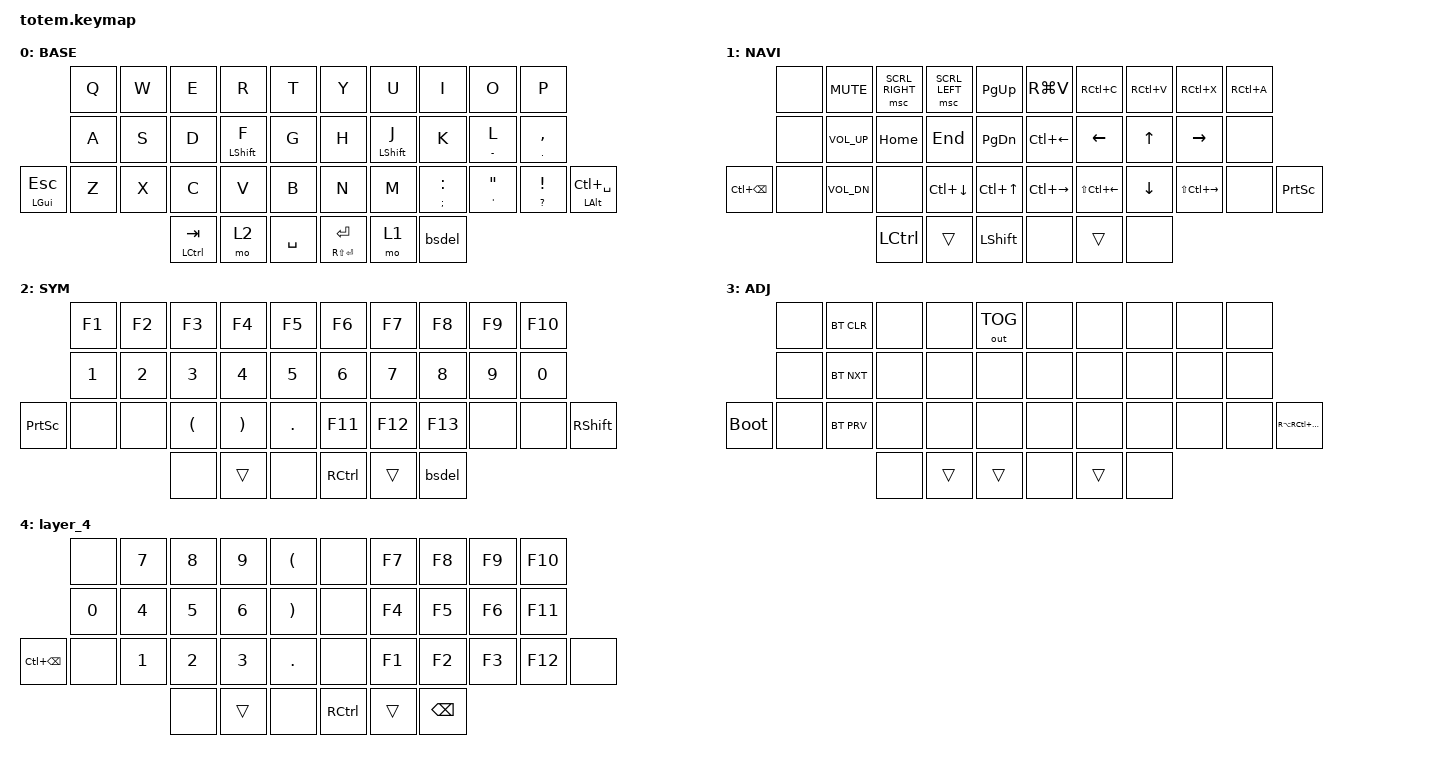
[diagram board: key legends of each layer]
//
//                                                        ▀▀▀▀▀     ▀▀▀▀▀          ▀▀█▀▀
//                                                        ▄▀▀▀▄  ▄  ▄▀▀▀▄  ▄  ▄▀▀▀▄  █  ▄▀▀▀▄
//                                                        █   █  █  █   █  █  █   █  █  █   █
//                                                         ▀▀▀   █   ▀▀▀   █   ▀▀▀   ▀   ▀▀▀
//                                                               █      ▄▄▄█▄▄▄    █   █  
//                                                               ▀      █  █  █     █▄█
//                                                             ▀▀▀▀▀    █  █  █      ▀
//                                                                      ▀  ▀  ▀
//
// ▄▄▄▄▄▄▄▄▄▄▄▄▄▄▄▄▄▄▄▄▄▄▄▄▄▄▄▄▄▄▄▄▄▄▄▄▄▄▄▄▄▄▄▄▄▄▄▄▄▄▄▄▄▄▄▄▄▄▄▄▄▄▄▄▄▄▄▄▄▄▄▄▄▄▄▄▄▄▄▄▄▄▄▄▄▄▄▄▄▄▄▄▄▄▄▄▄▄▄▄▄▄▄▄▄▄▄▄▄▄▄▄▄▄▄▄▄▄▄▄▄▄▄▄▄▄▄▄▄▄▄▄▄▄▄▄▄▄▄▄▄▄▄▄▄▄▄▄▄

#include <behaviors.dtsi>
#include <dt-bindings/zmk/bt.h>
#include <dt-bindings/zmk/keys.h>
#include <dt-bindings/zmk/outputs.h>
#include <dt-bindings/zmk/pointing.h>

#define BASE 0
#define NAV  1
#define SYM  2
#define ADJ  3
#define TVP1 4
#define TVP2 5

/ {
    combos {
        compatible = "zmk,combos";

        at {
            bindings = <&kp AT>;
            key-positions = <10 0>;
        };

        hash {
            bindings = <&kp HASH>;
            key-positions = <11 1>;
        };

        doller {
            bindings = <&kp DLLR>;
            key-positions = <12 2>;
        };

        prcnt {
            bindings = <&kp PRCNT>;
            key-positions = <13 3>;
        };

        caret {
            bindings = <&kp CARET>;
            key-positions = <14 4>;
        };

        amps {
            bindings = <&kp AMPS>;
            key-positions = <15 5>;
        };

        under {
            bindings = <&kp UNDER>;
            key-positions = <16 6>;
        };

        bslh {
            bindings = <&kp BSLH>;
            key-positions = <17 7>;
        };

        pipe {
            bindings = <&kp PIPE>;
            key-positions = <18 8>;
        };

        tilde {
            bindings = <&kp TILDE>;
            key-positions = <19 9>;
        };

        grave {
            bindings = <&kp GRAVE>;
            key-positions = <30 19>;
        };

        lpar {
            bindings = <&kp LPAR>;
            key-positions = <13 14>;
        };

        rpar {
            bindings = <&kp RPAR>;
            key-positions = <16 15>;
        };

        lbkt {
            bindings = <&kp LBKT>;
            key-positions = <3 4>;
        };

        rbkt {
            bindings = <&kp RBKT>;
            key-positions = <6 5>;
        };

        lbrc {
            bindings = <&kp LBRC>;
            key-positions = <24 25>;
        };

        rbrc {
            bindings = <&kp RBRC>;
            key-positions = <27 26>;
        };

        lt {
            bindings = <&kp LT>;
            key-positions = <13 12>;
        };

        gt {
            bindings = <&kp GT>;
            key-positions = <16 17>;
        };

        fslh {
            bindings = <&kp FSLH>;
            key-positions = <27 16>;
        };

        star {
            bindings = <&kp STAR>;
            key-positions = <15 26>;
        };

        minus {
            bindings = <&kp MINUS>;
            key-positions = <24 13>;
        };

        plus {
            bindings = <&kp PLUS>;
            key-positions = <14 25>;
        };

        equal {
            bindings = <&kp EQUAL>;
            key-positions = <17 28>;
        };

        Rayer3 {
            bindings = <&mo 3>;
            key-positions = <33 36>;
        };
    };

    macros {
        gif: gif {
            label = "giphy";
            compatible = "zmk,behavior-macro";
            #binding-cells = <0>;
            bindings =
                <&macro_press>,
                <&kp LSHFT>,
                <&macro_tap>,
                <&kp N2>,
                <&macro_release>,
                <&kp LSHFT>,
                <&macro_tap>,
                <&kp G &kp I &kp F>;
        };
    };

    behaviors {
        bsdel: bsdel {
            compatible = "zmk,behavior-mod-morph";
            label = "BSDEL";
            bindings = <&kp BACKSPACE>, <&kp DELETE>;

            #binding-cells = <0>;
            mods = <(MOD_RSFT|MOD_LSFT)>;
        };

        sifthold_behavior: sifthold_behavior {
            compatible = "zmk,behavior-hold-tap";
            label = "SIFTHOLD_BEHAVIOR";
            bindings = <&kp>, <&kp>;

            #binding-cells = <2>;
            tapping-term-ms = <200>;
            quick-tap-ms = <200>;
            require-prior-idle-ms = <150>;
            hold-trigger-key-positions = <16 13 18>;
            flavor = "tap-preferred";
        };
    };

    keymap {
        compatible = "zmk,keymap";

        // ▄▄▄▄▄▄▄▄▄▄▄▄▄▄▄▄▄▄▄▄▄▄▄▄▄▄▄▄▄▄▄▄▄▄▄▄▄▄▄▄▄▄▄▄▄▄▄▄▄▄▄▄▄▄▄▄▄▄▄▄▄▄▄▄▄▄▄▄▄▄▄▄▄▄▄▄▄▄▄▄▄▄▄▄▄▄▄▄▄▄▄▄▄▄▄▄▄▄▄▄▄▄▄▄▄▄▄▄▄▄▄▄▄▄▄▄▄▄▄▄▄▄▄▄▄▄▄▄▄▄▄▄▄▄▄▄▄▄▄▄▄▄▄▄▄▄▄▄▄

        base_layer {
            // ┏━━━━━━━━━━━━━━━━━━━━━━━━━━━━━━━━━━━━━━━┓

            label = "BASE";

            // ┗━━━━━━━━━━━━━━━━━━━━━━━━━━━━━━━━━━━━━━━┛
            //             ┏━━━━━━━━━━━┳━━━━━━━━━━━┳━━━━━━━━━━━┳━━━━━━━━━━━┳━━━━━━━━━━━┓   ┏━━━━━━━━━━━┳━━━━━━━━━━━┳━━━━━━━━━━━┳━━━━━━━━━━━┳━━━━━━━━━━━┓
            //             ┃     Q     ┃     W     ┃     F     ┃     P     ┃     G     ┃   ┃     J     ┃     L     ┃     U     ┃     Y     ┃     ;     ┃
            //             ┣━━━━━━━━━━━╋━━━━━━━━━━━╋━━━━━━━━━━━╋━━━━━━━━━━━╋━━━━━━━━━━━┫   ┣━━━━━━━━━━━╋━━━━━━━━━━━╋━━━━━━━━━━━╋━━━━━━━━━━━╋━━━━━━━━━━━┫
            //             ┃     A     ┃     R     ┃     S     ┃     T     ┃     D     ┃   ┃     H     ┃     N     ┃     E     ┃     I     ┃     O     ┃
            // ┏━━━━━━━━━━━╋━━━━━━━━━━━╋━━━━━━━━━━━╋━━━━━━━━━━━╋━━━━━━━━━━━╋━━━━━━━━━━━┫   ┣━━━━━━━━━━━╋━━━━━━━━━━━╋━━━━━━━━━━━╋━━━━━━━━━━━╋━━━━━━━━━━━╋━━━━━━━━━━━┓
            // ┃     Q     ┃     Z     ┃     X     ┃     C     ┃     V     ┃     B     ┃   ┃     K     ┃     M     ┃     ,     ┃     .     ┃     /     ┃     \     ┃
            // ┗━━━━━━━━━━━┻━━━━━━━━━━━┻━━━━━━━━━━━╋━━━━━━━━━━━╋━━━━━━━━━━━╋━━━━━━━━━━━┫   ┣━━━━━━━━━━━╋━━━━━━━━━━━╋━━━━━━━━━━━╋━━━━━━━━━━━┻━━━━━━━━━━━┻━━━━━━━━━━━┛
            //                                     ┃    DEL    ┃    TAB    ┃    SPC    ┃   ┃   ENTER   ┃           ┃   BSPC    ┃
            //                                     ┗━━━━━━━━━━━┻━━━━━━━━━━━┻━━━━━━━━━━━┛   ┗━━━━━━━━━━━┻━━━━━━━━━━━┻━━━━━━━━━━━┛

            bindings = <
                  &kp Q  &kp W  &kp E                 &kp R                            &kp T        &kp Y                &kp U                            &kp I                &kp O                           &kp P
                  &kp A  &kp S  &kp D                 &sifthold_behavior LEFT_SHIFT F  &kp G        &kp H                &sifthold_behavior LEFT_SHIFT J  &kp K                &sifthold_behavior MINUS L      &mt PERIOD COMMA
&mt LEFT_GUI ESC  &kp Z  &kp X  &kp C                 &kp V                            &kp B        &kp N                &kp M                            &mt SEMICOLON COLON  &mt SINGLE_QUOTE DOUBLE_QUOTES  &mt QUESTION EXCLAMATION  &mt LEFT_ALT LC(SPACE)
                                &mt LEFT_CONTROL TAB  &mo 2                            &kp SPACE    &mt RS(ENTER) ENTER  &mo 1                            &bsdel
            >;
        };

        nav_layer {
            // ┏━━━━━━━━━━━━━━━━━━━━━━━━━━━━━━━━━━━━━━━┓

            label = "NAVI";

            // ┗━━━━━━━━━━━━━━━━━━━━━━━━━━━━━━━━━━━━━━━┛
            //             ┏━━━━━━━━━━━┳━━━━━━━━━━━┳━━━━━━━━━━━┳━━━━━━━━━━━┳━━━━━━━━━━━┓   ┏━━━━━━━━━━━┳━━━━━━━━━━━┳━━━━━━━━━━━┳━━━━━━━━━━━┳━━━━━━━━━━━┓
            //             ┃           ┃           ┃     UP    ┃           ┃     {     ┃   ┃     }     ┃     7     ┃     8     ┃     9     ┃     +     ┃
            //             ┣━━━━━━━━━━━╋━━━━━━━━━━━╋━━━━━━━━━━━╋━━━━━━━━━━━╋━━━━━━━━━━━┫   ┣━━━━━━━━━━━╋━━━━━━━━━━━╋━━━━━━━━━━━╋━━━━━━━━━━━╋━━━━━━━━━━━┫
            //             ┃   SHIFT   ┃   LEFT    ┃    DOWN   ┃   RIGHT   ┃     [     ┃   ┃     ]     ┃     4     ┃     5     ┃     6     ┃     -     ┃
            // ┏━━━━━━━━━━━╋━━━━━━━━━━━╋━━━━━━━━━━━╋━━━━━━━━━━━╋━━━━━━━━━━━╋━━━━━━━━━━━┫   ┣━━━━━━━━━━━╋━━━━━━━━━━━╋━━━━━━━━━━━╋━━━━━━━━━━━╋━━━━━━━━━━━╋━━━━━━━━━━━┓
            // ┃           ┃           ┃   P UP    ┃  C LOCK   ┃  P DOWN   ┃     (     ┃   ┃     )     ┃     1     ┃     2     ┃     3     ┃     *     ┃           ┃
            // ┗━━━━━━━━━━━┻━━━━━━━━━━━┻━━━━━━━━━━━╋━━━━━━━━━━━╋━━━━━━━━━━━╋━━━━━━━━━━━┫   ┣━━━━━━━━━━━╋━━━━━━━━━━━╋━━━━━━━━━━━╋━━━━━━━━━━━┻━━━━━━━━━━━┻━━━━━━━━━━━┛
            //                                     ┃           ┃    TAB    ┃    SPC    ┃   ┃    DEL    ┃     0     ┃           ┃
            //                                     ┗━━━━━━━━━━━┻━━━━━━━━━━━┻━━━━━━━━━━━┛   ┗━━━━━━━━━━━┻━━━━━━━━━━━┻━━━━━━━━━━━┛

            bindings = <
                   &none  &kp C_MUTE    &msc SCRL_RIGHT   &msc SCRL_LEFT      &kp PAGE_UP         &kp RG(V)      &kp RC(C)         &kp RC(V)       &kp RC(X)          &kp RC(A)
                   &none  &kp C_VOL_UP  &kp HOME          &kp END             &kp PAGE_DOWN       &kp LC(LEFT)   &kp LEFT_ARROW    &kp UP_ARROW    &kp RIGHT_ARROW    &none
&kp LC(BACKSPACE)  &none  &kp C_VOL_DN  &none             &kp LC(DOWN_ARROW)  &kp LC(UP_ARROW)    &kp LC(RIGHT)  &kp LS(LC(LEFT))  &kp DOWN_ARROW  &kp LS(LC(RIGHT))  &none      &kp PRINTSCREEN
                                        &kp LEFT_CONTROL  &trans              &kp LEFT_SHIFT      &none          &trans            &none
            >;
        };

        sim_layer {
            // ┏━━━━━━━━━━━━━━━━━━━━━━━━━━━━━━━━━━━━━━━┓

            label = "SYM";

            // ┗━━━━━━━━━━━━━━━━━━━━━━━━━━━━━━━━━━━━━━━┛
            //             ┏━━━━━━━━━━━┳━━━━━━━━━━━┳━━━━━━━━━━━┳━━━━━━━━━━━┳━━━━━━━━━━━┓   ┏━━━━━━━━━━━┳━━━━━━━━━━━┳━━━━━━━━━━━┳━━━━━━━━━━━┳━━━━━━━━━━━┓
            //             ┃     !     ┃     @     ┃     #     ┃     $     ┃     %     ┃   ┃     ˆ     ┃     &     ┃     Ü     ┃     '     ┃     "     ┃
            //             ┣━━━━━━━━━━━╋━━━━━━━━━━━╋━━━━━━━━━━━╋━━━━━━━━━━━╋━━━━━━━━━━━┫   ┣━━━━━━━━━━━╋━━━━━━━━━━━╋━━━━━━━━━━━╋━━━━━━━━━━━╋━━━━━━━━━━━┫
            //             ┃     Ä     ┃           ┃    SZ     ┃           ┃           ┃   ┃   MUTE    ┃   YEN     ┃   EURO    ┃  POUND    ┃     Ö     ┃
            // ┏━━━━━━━━━━━╋━━━━━━━━━━━╋━━━━━━━━━━━╋━━━━━━━━━━━╋━━━━━━━━━━━╋━━━━━━━━━━━┫   ┣━━━━━━━━━━━╋━━━━━━━━━━━╋━━━━━━━━━━━╋━━━━━━━━━━━╋━━━━━━━━━━━╋━━━━━━━━━━━┓
            // ┃           ┃  EMAIL1   ┃  EMAIL2   ┃           ┃           ┃           ┃   ┃   VOL-    ┃   VOL+    ┃   LAST    ┃   NEXT    ┃     \     ┃           ┃
            // ┗━━━━━━━━━━━┻━━━━━━━━━━━┻━━━━━━━━━━━╋━━━━━━━━━━━╋━━━━━━━━━━━╋━━━━━━━━━━━┫   ┣━━━━━━━━━━━╋━━━━━━━━━━━╋━━━━━━━━━━━╋━━━━━━━━━━━┻━━━━━━━━━━━┻━━━━━━━━━━━┛
            //                                     ┃           ┃    GIF    ┃    ADJ    ┃   ┃           ┃           ┃           ┃
            //                                     ┗━━━━━━━━━━━┻━━━━━━━━━━━┻━━━━━━━━━━━┛   ┗━━━━━━━━━━━┻━━━━━━━━━━━┻━━━━━━━━━━━┛

            bindings = <
                 &kp F1  &kp F2  &kp F3                &kp F4                 &kp F5        &kp F6             &kp F7   &kp F8   &kp F9  &kp F10
                 &kp N1  &kp N2  &kp N3                &kp N4                 &kp N5        &kp N6             &kp N7   &kp N8   &kp N9  &kp N0
&kp PRINTSCREEN  &none   &none   &kp LEFT_PARENTHESIS  &kp RIGHT_PARENTHESIS  &kp PERIOD    &kp F11            &kp F12  &kp F13  &none   &none    &kp RIGHT_SHIFT
                                 &none                 &trans                 &none         &kp RIGHT_CONTROL  &trans   &bsdel
            >;
        };

        adjust_layer {
            // ┏━━━━━━━━━━━━━━━━━━━━━━━━━━━━━━━━━━━━━━━┓

            label = "ADJ";

            // ┗━━━━━━━━━━━━━━━━━━━━━━━━━━━━━━━━━━━━━━━┛
            //             ┏━━━━━━━━━━━┳━━━━━━━━━━━┳━━━━━━━━━━━┳━━━━━━━━━━━┳━━━━━━━━━━━┓   ┏━━━━━━━━━━━┳━━━━━━━━━━━┳━━━━━━━━━━━┳━━━━━━━━━━━┳━━━━━━━━━━━┓
            //             ┃   RESET   ┃ BT CLEAR  ┃  OUT TOG  ┃           ┃           ┃   ┃           ┃    F7     ┃    F8     ┃    F9     ┃    F12    ┃
            //             ┣━━━━━━━━━━━╋━━━━━━━━━━━╋━━━━━━━━━━━╋━━━━━━━━━━━╋━━━━━━━━━━━┫   ┣━━━━━━━━━━━╋━━━━━━━━━━━╋━━━━━━━━━━━╋━━━━━━━━━━━╋━━━━━━━━━━━┫
            //             ┃ BOOTLOAD  ┃ BT NEXT   ┃           ┃           ┃           ┃   ┃           ┃    F4     ┃    F5     ┃    F6     ┃    F11    ┃
            // ┏━━━━━━━━━━━╋━━━━━━━━━━━╋━━━━━━━━━━━╋━━━━━━━━━━━╋━━━━━━━━━━━╋━━━━━━━━━━━┫   ┣━━━━━━━━━━━╋━━━━━━━━━━━╋━━━━━━━━━━━╋━━━━━━━━━━━╋━━━━━━━━━━━╋━━━━━━━━━━━┓
            // ┃           ┃           ┃ BT PREV   ┃           ┃           ┃           ┃   ┃           ┃    F1     ┃    F2     ┃    F3     ┃    F10    ┃           ┃
            // ┗━━━━━━━━━━━┻━━━━━━━━━━━┻━━━━━━━━━━━╋━━━━━━━━━━━╋━━━━━━━━━━━╋━━━━━━━━━━━┫   ┣━━━━━━━━━━━╋━━━━━━━━━━━╋━━━━━━━━━━━╋━━━━━━━━━━━┻━━━━━━━━━━━┻━━━━━━━━━━━┛
            //                                     ┃           ┃           ┃           ┃   ┃           ┃           ┃           ┃
            //                                     ┗━━━━━━━━━━━┻━━━━━━━━━━━┻━━━━━━━━━━━┛   ┗━━━━━━━━━━━┻━━━━━━━━━━━┻━━━━━━━━━━━┛

            bindings = <
             &none  &bt BT_CLR  &none  &none   &out OUT_TOG    &none  &none   &none  &none  &none
             &none  &bt BT_NXT  &none  &none   &none           &none  &none   &none  &none  &none
&bootloader  &none  &bt BT_PRV  &none  &none   &none           &none  &none   &none  &none  &none  &kp RA(RC(DELETE))
                                &none  &trans  &trans          &none  &trans  &none
            >;
        };

        layer_4 {
            bindings = <
                   &none   &kp N7  &kp N8  &kp N9  &kp LPAR    &none              &kp F7  &kp F8         &kp F9  &kp F10
                   &kp N0  &kp N4  &kp N5  &kp N6  &kp RPAR    &none              &kp F4  &kp F5         &kp F6  &kp F11
&kp LC(BACKSPACE)  &none   &kp N1  &kp N2  &kp N3  &kp DOT     &none              &kp F1  &kp F2         &kp F3  &kp F12  &none
                                   &none   &trans  &none       &kp RIGHT_CONTROL  &trans  &kp BACKSPACE
            >;
        };

        // ▄▄▄▄▄▄▄▄▄▄▄▄▄▄▄▄▄▄▄▄▄▄▄▄▄▄▄▄▄▄▄▄▄▄▄▄▄▄▄▄▄▄▄▄▄▄▄▄▄▄▄▄▄▄▄▄▄▄▄▄▄▄▄▄▄▄▄▄▄▄▄▄▄▄▄▄▄▄▄▄▄▄▄▄▄▄▄▄▄▄▄▄▄▄▄▄▄▄▄▄▄▄▄▄▄▄▄▄▄▄▄▄▄▄▄▄▄▄▄▄▄▄▄▄▄▄▄▄▄▄▄▄▄▄▄▄▄▄▄▄▄▄▄▄▄▄▄▄▄
        // ▄▄▄▄▄▄▄▄▄▄▄▄▄▄▄▄▄▄▄▄▄▄▄▄▄▄▄▄▄▄▄▄▄▄▄▄▄▄▄▄▄▄▄▄▄▄▄▄▄▄▄▄▄▄▄▄▄▄▄▄▄▄▄▄▄▄▄▄▄▄▄▄▄▄▄▄▄▄▄▄▄▄▄▄▄▄▄▄▄▄▄▄▄▄▄▄▄▄▄▄▄▄▄▄▄▄▄▄▄▄▄▄▄▄▄▄▄▄▄▄▄▄▄▄▄▄▄▄▄▄▄▄▄▄▄▄▄▄▄▄▄▄▄▄▄▄▄▄▄
    };
};
